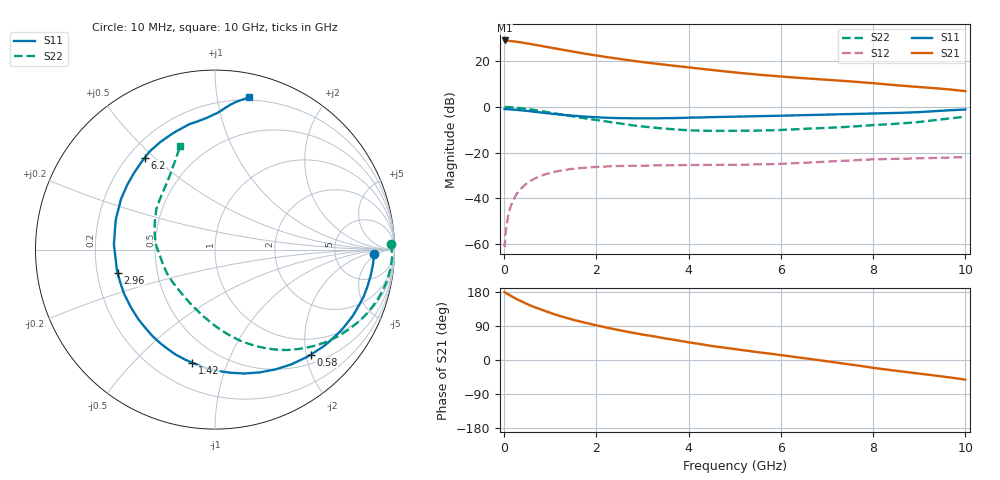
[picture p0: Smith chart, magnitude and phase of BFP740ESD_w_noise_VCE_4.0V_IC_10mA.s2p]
! Infineon Technologies  Discrete & RF Semiconductors
! BFP740ESD
! VCE =  4.0 V,  IC =  10 mA
! Common Emitter S-Parameters:  Jan 2016
# GHz  S  MA  R  50
!  f  S11  S21  S12  S22
! GHz  MAG  ANG  MAG  ANG  MAG  ANG  MAG  ANG
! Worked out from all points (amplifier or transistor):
!   233 points, 10 MHz to 10 GHz, reference 50 ohm
!   highest |S21| = 29.0 dB at 10 MHz (marker M1)
!   |S21| within 3 dB of that: start of sweep to 974.2 MHz
!   unconditionally stable (mu >= 1): 5.144 GHz to 9.027 GHz
!   at 200 MHz: K = 0.13, MSG = 34.7 dB, |S12| = -40.7 dB
!   at 1.74 GHz: K = 0.41, MSG = 24.9 dB, |S12| = -26.7 dB
!   at 10 GHz: K = 0.71, MSG = 14.4 dB, |S12| = -22.0 dB
!   lowest NFmin = 0.60 dB at 450 MHz
!   S11 on the Smith chart (normalised r, x): 10 MHz: 16, -4; 580 MHz: 0.67, -2.09; 1.42 GHz: 0.35, -0.76; 2.96 GHz: 0.29, -0.11; 6.2 GHz: 0.27, +0.46; 10 GHz: 0.18, +1.24
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0.01  0.8879 -1.7  28.04 179.4  0.001 -24.2  0.9786 1.8
0.02  0.8862 -1.8  27.64 178.1  0.0013 58.1  0.9867 -1.0
0.15  0.8749 -13.1  27.2 168.9  0.007 77.9  0.978 -8.6
0.28  0.8541 -24.2  26.17 160.2  0.0128 73.7  0.9533 -15.7
0.45  0.8206 -37.7  24.62 150.3  0.0197 67.1  0.9104 -24.2
0.58  0.7921 -47.6  23.36 143.3  0.0243 61.9  0.8715 -30.2
0.7  0.768 -56.4  22.29 137.5  0.0282 57.6  0.8363 -35.5
0.9  0.7279 -70.0  20.48 128.4  0.0337 51.0  0.776 -43.5
1.12  0.6879 -84.0  18.67 119.5  0.0384 44.7  0.7106 -51.5
1.42  0.6431 -101.3  16.45 108.7  0.0431 37.3  0.6302 -61.2
1.68  0.615 -114.5  14.84 100.4  0.0459 32.3  0.5719 -68.5
1.94  0.5931 -126.5  13.43 93.0  0.0481 27.9  0.5217 -75.2
2.22  0.5756 -138.6  12.16 85.5  0.0497 24.0  0.4729 -82.1
2.6  0.5632 -153.9  10.71 76.1  0.051 19.6  0.4153 -91.7
2.96  0.5581 -166.4  9.576 68.1  0.0517 16.4  0.3741 -100.6
3.4  0.5598 -180.0  8.457 59.0  0.0523 13.5  0.338 -111.5
4  0.5774 163.3  7.245 46.6  0.0533 10.6  0.3067 -127.9
5.1  0.6099 142.0  5.487 27.1  0.054 7.8  0.2983 -155.8
6.2  0.644 127.5  4.416 9.8  0.0577 7.6  0.3175 -179.2
6.8  0.6649 119.6  4.001 0.0  0.0618 6.5  0.3385 169.8
8.4  0.726 96.0  3.009 -26.9  0.0723 -2.3  0.418 136.9
10  0.8706 77.3  2.193 -51.8  0.0793 -11.7  0.6081 108.6
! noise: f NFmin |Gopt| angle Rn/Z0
0.45  0.6  0.2  3  0.08
0.9  0.63  0.19  13  0.1
1.9  0.65  0.18  17  0.1
2.4  0.7  0.12  37  0.11
5.5  0.9  0.24  -138  0.14
10  1.66  0.57  -90  0.48
